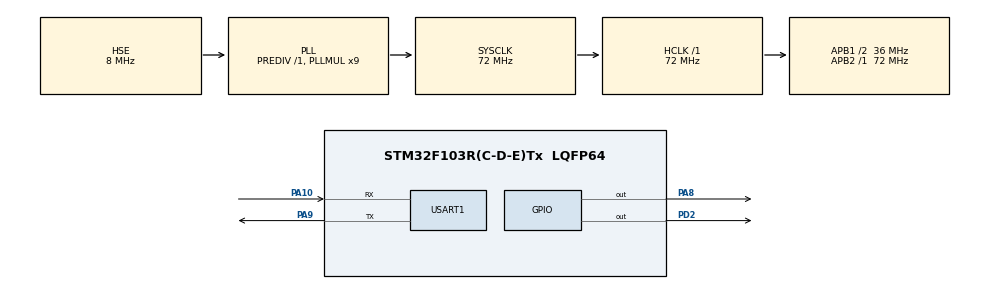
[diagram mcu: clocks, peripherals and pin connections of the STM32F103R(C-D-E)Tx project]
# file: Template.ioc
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Mcu.Family=STM32F1
Mcu.Name=STM32F103R(C-D-E)Tx
Mcu.Package=LQFP64
NVIC.PriorityGroup=NVIC_PRIORITYGROUP_4
PA10.Mode=Asynchronous
PA10.Signal=USART1_RX
PA13.Mode=JTAG_5_pins
PA13.Signal=SYS_JTMS-SWDIO
PA14.Mode=JTAG_5_pins
PA14.Signal=SYS_JTCK-SWCLK
PA15.Mode=JTAG_5_pins
PA15.Signal=SYS_JTDI
PA8.Signal=GPIO_Output
PA9.Mode=Asynchronous
PA9.Signal=USART1_TX
PB3.Mode=JTAG_5_pins
PB3.Signal=SYS_JTDO-TRACESWO
PB4.Mode=JTAG_5_pins
PB4.Signal=SYS_NJTRST
PD0-OSC_IN.Mode=HSE-External-Oscillator
PD0-OSC_IN.Signal=RCC_OSC_IN
PD1-OSC_OUT.Mode=HSE-External-Oscillator
PD1-OSC_OUT.Signal=RCC_OSC_OUT
PD2.Signal=GPIO_Output
ProjectManager.HeapSize=0x200
ProjectManager.StackSize=0x400
ProjectManager.TargetToolchain=MDK-ARM V5.27
RCC.AHBFreq_Value=72000000
RCC.APB1CLKDivider=RCC_HCLK_DIV2
RCC.APB1Freq_Value=36000000
RCC.APB1TimFreq_Value=72000000
RCC.APB2Freq_Value=72000000
RCC.APB2TimFreq_Value=72000000
RCC.HCLKFreq_Value=72000000
RCC.PLLMUL=RCC_PLL_MUL9
RCC.PLLSourceVirtual=RCC_PLLSOURCE_HSE
RCC.SYSCLKFreq_VALUE=72000000
RCC.SYSCLKSource=RCC_SYSCLKSOURCE_PLLCLK
RCC.USBFreq_Value=72000000
USART1.VirtualMode=VM_ASYNC
board=custom

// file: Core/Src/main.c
/* USER CODE END Header */
#include "main.h"
#include "gpio.h"
#include "usart.h"
/* USER CODE BEGIN Includes */
#include <includes.h>
#include "stm32f1xx_hal.h"
/* USER CODE END Includes */

/* USER CODE BEGIN PD */

/* 开始任务 */
#define START_TASK_PRIO		3								//任务优先级
#define START_STK_SIZE 		64							//任务堆栈大小
OS_TCB StartTaskTCB;											//任务控制块
CPU_STK START_TASK_STK[START_STK_SIZE];		//任务堆栈
void start_task(void *p_arg);							//任务执行函数

/* LED0任务 */
#define LED0_TASK_PRIO						4
#define LED0_STK_SIZE							64
OS_TCB Led0TaskTCB;
CPU_STK LED0_TASK_STK[LED0_STK_SIZE];
void led0_task(void *p_arg);

/* LED1任务 */
#define LED1_TASK_PRIO						5
#define LED1_STK_SIZE							64
OS_TCB Led1TaskTCB;
CPU_STK LED1_TASK_STK[LED1_STK_SIZE];
void led1_task(void *p_arg);

/* 串口发送任务 */
#define UART_SEND_TASK_PRIO				3
#define UART_SEND_STK_SIZE				64
OS_TCB UartSendTaskTCB;
CPU_STK UART_SEND_TASK_STK[UART_SEND_STK_SIZE];
void uart_send_task(void *p_arg);

/* USER CODE END PD */

void SystemClock_Config(void);

/* USER CODE BEGIN 0 */
/**
  * @brief System Clock Configuration
  * @retval None
  */
void SystemClock_Config(void)
{
  RCC_OscInitTypeDef RCC_OscInitStruct = {0};
  RCC_ClkInitTypeDef RCC_ClkInitStruct = {0};

  /**Initializes the CPU, AHB and APB busses clocks
  */
  RCC_OscInitStruct.OscillatorType = RCC_OSCILLATORTYPE_HSE;
  RCC_OscInitStruct.HSEState = RCC_HSE_ON;
  RCC_OscInitStruct.HSEPredivValue = RCC_HSE_PREDIV_DIV1;
  RCC_OscInitStruct.HSIState = RCC_HSI_ON;
  RCC_OscInitStruct.PLL.PLLState = RCC_PLL_ON;
  RCC_OscInitStruct.PLL.PLLSource = RCC_PLLSOURCE_HSE;
  RCC_OscInitStruct.PLL.PLLMUL = RCC_PLL_MUL9;
  if (HAL_RCC_OscConfig(&RCC_OscInitStruct) != HAL_OK)
  {
    Error_Handler();
  }
  /**Initializes the CPU, AHB and APB busses clocks
  */
  RCC_ClkInitStruct.ClockType = RCC_CLOCKTYPE_HCLK|RCC_CLOCKTYPE_SYSCLK
                              |RCC_CLOCKTYPE_PCLK1|RCC_CLOCKTYPE_PCLK2;
  RCC_ClkInitStruct.SYSCLKSource = RCC_SYSCLKSOURCE_PLLCLK;
  RCC_ClkInitStruct.AHBCLKDivider = RCC_SYSCLK_DIV1;
  RCC_ClkInitStruct.APB1CLKDivider = RCC_HCLK_DIV2;
  RCC_ClkInitStruct.APB2CLKDivider = RCC_HCLK_DIV1;

  if (HAL_RCC_ClockConfig(&RCC_ClkInitStruct, FLASH_LATENCY_2) != HAL_OK)
  {
    Error_Handler();
  }
}

/* USER CODE END 0 */

int main(void)
{
	OS_ERR  err;
	OSInit(&err);										//初始化UCOS-3
  HAL_Init();											//初始化HAL库
	SystemClock_Config();						//系统时钟配置
	//MX_GPIO_Init(); 这个在BSP的初始化里也会初始化
  MX_USART1_UART_Init();					//串口初始化
	/* 创建开始任务 */
	OSTaskCreate((OS_TCB     *)&StartTaskTCB,   //任务控制块             /* Create the start task                                */
				 (CPU_CHAR   *)"start task",					//任务名字
				 (OS_TASK_PTR ) start_task,						//任务函数
				 (void       *) 0,										//传递给任务函数的参数
				 (OS_PRIO     ) START_TASK_PRIO,			//任务优先级
				 (CPU_STK    *)&START_TASK_STK[0],		//任务堆栈基地址
				 (CPU_STK_SIZE) START_STK_SIZE/10,		//任务堆栈深度限位
				 (CPU_STK_SIZE) START_STK_SIZE,				//任务堆栈大小
				 (OS_MSG_QTY  ) 0,										//禁止接收消息
				 (OS_TICK     ) 0,										//时间片长度默认
				 (void       *) 0,										//用户补充的存储区
				 (OS_OPT      )(OS_OPT_TASK_STK_CHK | OS_OPT_TASK_STK_CLR),
				 (OS_ERR     *)&err);
	/* 启动多任务系统，控制权交给uC/OS-III */
	OSStart(&err);            /* Start multitasking (i.e. give control to uC/OS-III). */

}

void start_task(void *p_arg)
{
	OS_ERR err;
	CPU_SR_ALLOC();			//定义一个变量cpu_sr用于存储CPU状态寄存器用的
	p_arg = p_arg;

  BSP_Init();                                                   /* Initialize BSP functions */
  //CPU_Init();
  //Mem_Init();                                                 /* Initialize Memory Management Module */

#if OS_CFG_STAT_TASK_EN > 0u
   OSStatTaskCPUUsageInit(&err);  		//统计任务
#endif

#ifdef CPU_CFG_INT_DIS_MEAS_EN			//如果使能了测量中断关闭时间
    CPU_IntDisMeasMaxCurReset();
#endif

#if	OS_CFG_SCHED_ROUND_ROBIN_EN  		//当使用时间片轮转的时候
	 //使能时间片轮转调度功能,时间片长度为1个系统时钟节拍，既1*5=5ms
	OSSchedRoundRobinCfg(DEF_ENABLED,1,&err);
#endif

	OS_CRITICAL_ENTER();	//进入临界区

/* 创建led0任务 */
	OSTaskCreate((OS_TCB     *)&Led0TaskTCB,   	//任务控制块             /* Create the start task                                */
				 (CPU_CHAR   *)"led0 task",						//任务名字
				 (OS_TASK_PTR ) led0_task,						//任务函数
				 (void       *) 0,										//传递给任务函数的参数
				 (OS_PRIO     ) LED0_TASK_PRIO,			//任务优先级
				 (CPU_STK    *)&LED0_TASK_STK[0],		//任务堆栈基地址
				 (CPU_STK_SIZE) LED0_STK_SIZE/10,		//任务堆栈深度限位
				 (CPU_STK_SIZE) LED0_STK_SIZE,				//任务堆栈大小
				 (OS_MSG_QTY  ) 0,										//禁止接收消息
				 (OS_TICK     ) 0,										//时间片长度默认
				 (void       *) 0,										//用户补充的存储区
				 (OS_OPT      )(OS_OPT_TASK_STK_CHK | OS_OPT_TASK_STK_CLR),
				 (OS_ERR     *)&err);
/* 创建led1任务 */
	OSTaskCreate((OS_TCB     *)&Led1TaskTCB,   	//任务控制块             /* Create the start task                                */
				 (CPU_CHAR   *)"led1 task",						//任务名字
				 (OS_TASK_PTR ) led1_task,						//任务函数
				 (void       *) 0,										//传递给任务函数的参数
				 (OS_PRIO     ) LED1_TASK_PRIO,				//任务优先级
				 (CPU_STK    *)&LED1_TASK_STK[0],			//任务堆栈基地址
				 (CPU_STK_SIZE) LED1_STK_SIZE/10,			//任务堆栈深度限位
				 (CPU_STK_SIZE) LED1_STK_SIZE,				//任务堆栈大小
				 (OS_MSG_QTY  ) 0,										//禁止接收消息
				 (OS_TICK     ) 0,										//时间片长度默认
				 (void       *) 0,										//用户补充的存储区
				 (OS_OPT      )(OS_OPT_TASK_STK_CHK | OS_OPT_TASK_STK_CLR),
				 (OS_ERR     *)&err);
 /* 创建串口发送任务 */
	OSTaskCreate((OS_TCB     *)&UartSendTaskTCB,   	//任务控制块             /* Create the start task                                */
				 (CPU_CHAR   *)"uart task",						//任务名字
				 (OS_TASK_PTR ) uart_send_task,						//任务函数
				 (void       *) 0,										//传递给任务函数的参数
				 (OS_PRIO     ) UART_SEND_TASK_PRIO,				//任务优先级
				 (CPU_STK    *)&UART_SEND_TASK_STK[0],			//任务堆栈基地址
				 (CPU_STK_SIZE) UART_SEND_STK_SIZE/10,			//任务堆栈深度限位
				 (CPU_STK_SIZE) UART_SEND_STK_SIZE,				//任务堆栈大小
				 (OS_MSG_QTY  ) 0,										//禁止接收消息
				 (OS_TICK     ) 0,										//时间片长度默认
				 (void       *) 0,										//用户补充的存储区
				 (OS_OPT      )(OS_OPT_TASK_STK_CHK | OS_OPT_TASK_STK_CLR),
				 (OS_ERR     *)&err);

	OS_TaskSuspend((OS_TCB*)&StartTaskTCB,&err);		//挂起开始任务
	OS_CRITICAL_EXIT();	//退出临界区
}

void led0_task(void *p_arg)
{
	uint8_t cnt = 0;
	OS_ERR err;
	CPU_SR_ALLOC();			//定义一个变量cpu_sr用于存储CPU状态寄存器用的
	p_arg = p_arg;
	OS_CRITICAL_ENTER();
	OS_CRITICAL_EXIT();	//退出临界区
	while(DEF_TRUE){
		if(++cnt == 8){
			printf("任务LED1挂起，执行次数%d\n", cnt/2);
			OSTaskSuspend((OS_TCB *)&Led1TaskTCB, &err);			//挂起任务LED1
		}else if(cnt == 16){
			printf("任务LED1恢复，执行次数%d\n", cnt/2);
			OSTaskResume((OS_TCB *)&Led1TaskTCB, &err);				//恢复任务LED0
		}
		printf("任务LED0执行\n");
		HAL_GPIO_TogglePin(GPIOA, GPIO_PIN_8);
		OSTimeDlyHMSM(0, 0, 1, 0, OS_OPT_TIME_HMSM_STRICT, &err);
	}

}
void led1_task(void *p_arg)
{
	OS_ERR err;
	CPU_SR_ALLOC();			//定义一个变量cpu_sr用于存储CPU状态寄存器用的
	p_arg = p_arg;
	OS_CRITICAL_ENTER();
	OS_CRITICAL_EXIT();	//退出临界区
	while(DEF_TRUE){
		HAL_GPIO_TogglePin(GPIOD, GPIO_PIN_2);
		printf("任务LED1执行\n");
		OSTimeDlyHMSM(0, 0, 2, 0, OS_OPT_TIME_HMSM_STRICT, &err);
	}
}
void uart_send_task(void *p_arg)
{
	OS_ERR err;
	CPU_SR_ALLOC();			//定义一个变量cpu_sr用于存储CPU状态寄存器用的
	p_arg = p_arg;
	OS_CRITICAL_ENTER();
	OS_CRITICAL_EXIT();	//退出临界区
	while(DEF_TRUE){
		printf("UCOS-3 Hello World\n");
		OSTimeDlyHMSM(0, 0, 2, 0, OS_OPT_TIME_HMSM_STRICT, &err);
	}
}

void Error_Handler(void)
{
}

/************************ (C) COPYRIGHT STMicroelectronics *****END OF FILE****/
